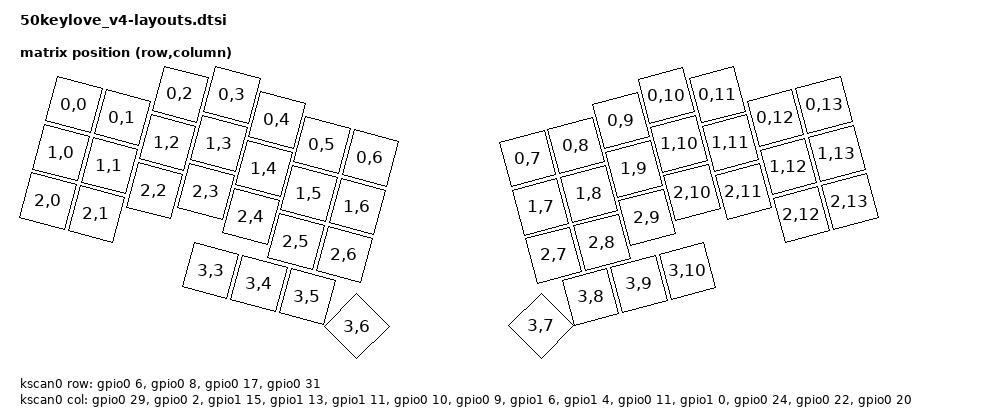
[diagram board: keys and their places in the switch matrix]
#include <physical_layouts.dtsi>
#include <dt-bindings/zmk/matrix_transform.h>

/ {
    chosen {
        zmk,physical-layout = &physical_layout0;
    };

    keymap_transform0: keymap_transform0 {
        compatible = "zmk,matrix-transform";
        columns = <14>; // Length of the "col-gpios" array
        rows = <4>; // Length of the "row-gpios" array
        map = <
            RC(0,0) RC(0,1) RC(0,2) RC(0,3) RC(0,4) RC(0,5) RC(0,6)  RC(0,7) RC(0,8) RC(0,9) RC(0,10) RC(0,11) RC(0,12) RC(0,13)
            RC(1,0) RC(1,1) RC(1,2) RC(1,3) RC(1,4) RC(1,5) RC(1,6)  RC(1,7) RC(1,8) RC(1,9) RC(1,10) RC(1,11) RC(1,12) RC(1,13)
            RC(2,0) RC(2,1) RC(2,2) RC(2,3) RC(2,4) RC(2,5) RC(2,6)  RC(2,7) RC(2,8) RC(2,9) RC(2,10) RC(2,11) RC(2,12) RC(2,13)
                                    RC(3,3) RC(3,4) RC(3,5) RC(3,6)  RC(3,7) RC(3,8) RC(3,9) RC(3,10) 
        >;
    };

    kscan0: kscan0 {
        compatible = "zmk,kscan-gpio-matrix";
        diode-direction = "col2row";
        wakeup-source;

        col-gpios
            = <&gpio0 29 GPIO_ACTIVE_HIGH>
            , <&gpio0 2  GPIO_ACTIVE_HIGH>
            , <&gpio1 15 GPIO_ACTIVE_HIGH>
            , <&gpio1 13 GPIO_ACTIVE_HIGH>
            , <&gpio1 11 GPIO_ACTIVE_HIGH>
            , <&gpio0 10 GPIO_ACTIVE_HIGH>
            , <&gpio0 9  GPIO_ACTIVE_HIGH>
            , <&gpio1 6  GPIO_ACTIVE_HIGH>
            , <&gpio1 4  GPIO_ACTIVE_HIGH>
            , <&gpio0 11 GPIO_ACTIVE_HIGH>
            , <&gpio1 0  GPIO_ACTIVE_HIGH>
            , <&gpio0 24 GPIO_ACTIVE_HIGH>
            , <&gpio0 22 GPIO_ACTIVE_HIGH>
            , <&gpio0 20 GPIO_ACTIVE_HIGH>
            ;

        row-gpios
            = <&gpio0 6 (GPIO_ACTIVE_HIGH | GPIO_PULL_DOWN)>
            , <&gpio0 8 (GPIO_ACTIVE_HIGH | GPIO_PULL_DOWN)>
            , <&gpio0 17 (GPIO_ACTIVE_HIGH | GPIO_PULL_DOWN)>
            , <&gpio0 31 (GPIO_ACTIVE_HIGH | GPIO_PULL_DOWN)>
            ;
    };

    physical_layout0: physical_layout0 {
        compatible = "zmk,physical-layout";
        display-name = "50keylove-LAYOUT";
        kscan = <&kscan0>;
        transform = <&keymap_transform0>;

        keys  //                     w   h    x    y     rot    rx    ry
            = <&key_physical_attrs 100 100    0  100    1500   360   160>
            , <&key_physical_attrs 100 100  100  100    1500   360   160>
            , <&key_physical_attrs 100 100  200   25    1500   360   160>
            , <&key_physical_attrs 100 100  300    0    1500   360   160>
            , <&key_physical_attrs 100 100  400   25    1500   360   160>
            , <&key_physical_attrs 100 100  500   50    1500   360   160>
            , <&key_physical_attrs 100 100  600   50    1500   360   160>
            , <&key_physical_attrs 100 100  925   50 (-1500)  1270   156>
            , <&key_physical_attrs 100 100 1025   50 (-1500)  1270   156>
            , <&key_physical_attrs 100 100 1125   25 (-1500)  1270   156>
            , <&key_physical_attrs 100 100 1225    0 (-1500)  1270   156>
            , <&key_physical_attrs 100 100 1325   25 (-1500)  1270   156>
            , <&key_physical_attrs 100 100 1425  100 (-1500)  1270   156>
            , <&key_physical_attrs 100 100 1525  100 (-1500)  1270   156>
            , <&key_physical_attrs 100 100    0  200    1500   360   160>
            , <&key_physical_attrs 100 100  100  200    1500   360   160>
            , <&key_physical_attrs 100 100  200  125    1500   360   160>
            , <&key_physical_attrs 100 100  300  100    1500   360   160>
            , <&key_physical_attrs 100 100  400  125    1500   360   160>
            , <&key_physical_attrs 100 100  500  150    1500   360   160>
            , <&key_physical_attrs 100 100  600  150    1500   360   160>
            , <&key_physical_attrs 100 100  925  150 (-1500)  1270   156>
            , <&key_physical_attrs 100 100 1025  150 (-1500)  1270   156>
            , <&key_physical_attrs 100 100 1125  125 (-1500)  1270   156>
            , <&key_physical_attrs 100 100 1225  100 (-1500)  1270   156>
            , <&key_physical_attrs 100 100 1325  125 (-1500)  1270   156>
            , <&key_physical_attrs 100 100 1425  200 (-1500)  1270   156>
            , <&key_physical_attrs 100 100 1525  200 (-1500)  1270   156>
            , <&key_physical_attrs 100 100    0  300    1500   360   160>
            , <&key_physical_attrs 100 100  100  300    1500   360   160>
            , <&key_physical_attrs 100 100  200  225    1500   360   160>
            , <&key_physical_attrs 100 100  300  200    1500   360   160>
            , <&key_physical_attrs 100 100  400  225    1500   360   160>
            , <&key_physical_attrs 100 100  500  250    1500   360   160>
            , <&key_physical_attrs 100 100  600  250    1500   360   160>
            , <&key_physical_attrs 100 100  925  250 (-1500)  1270   156>
            , <&key_physical_attrs 100 100 1025  250 (-1500)  1270   156>
            , <&key_physical_attrs 100 100 1125  225 (-1500)  1270   156>
            , <&key_physical_attrs 100 100 1225  200 (-1500)  1270   156>
            , <&key_physical_attrs 100 100 1325  225 (-1500)  1270   156>
            , <&key_physical_attrs 100 100 1425  300 (-1500)  1270   156>
            , <&key_physical_attrs 100 100 1525  300 (-1500)  1270   156>
            , <&key_physical_attrs 100 100  350  350    1500   360   160>
            , <&key_physical_attrs 100 100  450  350    1500   360   160>
            , <&key_physical_attrs 100 100  550  350    1500   360   160>
            , <&key_physical_attrs 100 100  750  170    4500   360   160>
            , <&key_physical_attrs 100 100  775  165 (-4500)  1270   156>
            , <&key_physical_attrs 100 100  975  350 (-1500)  1270   156>
            , <&key_physical_attrs 100 100 1075  350 (-1500)  1270   156>
            , <&key_physical_attrs 100 100 1175  350 (-1500)  1270   156>
            ;
    };
};
